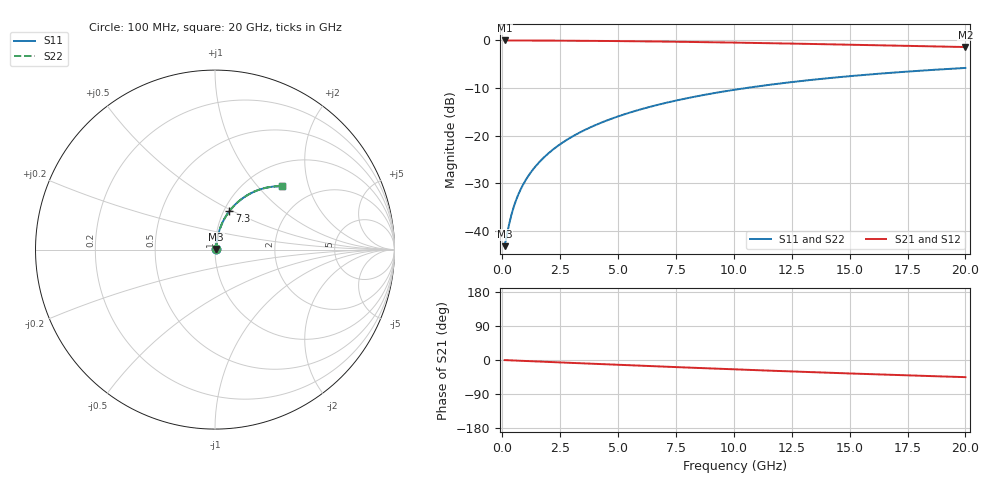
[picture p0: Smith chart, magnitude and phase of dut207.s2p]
! Touchstone file exported from HFSS 2026.1.0
!  File:  C:/ffzhzh/LocalFiles/Ansys_Project_Files/temp_train_BSMRDL_207_1782987827_6248.aedt
!  Generated:  06:25:06 PM Jul  2, 2026
!  Design:  BSMRDL
!  Project:  temp_train_BSMRDL_207_1782987827_6248
! Variables:
!  h_bsmrdl = 2.01um
!  h_ox = 20um
!  h_rdl = 5um
!  h_sub = 80um
!  h_tmrdl = 5um
!  h_tsv = 80um
!  h_via = 3um
!  l_bsmrdl = 568.66um
!  l_sub = 968.66um
!  l_tmrdl = 200um
!  m_sub = 200um
!  pitch = 59.47um
!  r_tsv = 6um
!  s_tmrdl = 10um
!  w_bsmrdl = 17.23um
!  w_sub = 500um
!  w_tmrdl = 12um
!  x_tsv_center1 = 206um
!  x_tsv_center2 = 791.89um
!  x_tsv_center3 = 1003.89um
!  x_tsv_center4 = 1589.78um
!  x_tsv_center5 = 1801.78um
!  x_tsv_center6 = 2387.67um
# GHz S MA R 50.000000
! Terminal data exported
! Port[1] = BSM_RDL1_1_T1
! Port[2] = BSM_RDL1_1_T2
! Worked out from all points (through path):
!   200 points, 100 MHz to 20 GHz, reference 50 ohm
!   highest |S21| = -0.05 dB at 100 MHz (marker M1); lowest = -1.4 dB at 20 GHz (marker M2)
!   group delay of S21, straight-line fit = 6.31 ps
!   lowest |S11| = -43.2 dB at 100 MHz (marker M3), VSWR 1.01, Z = 50.6 + j0.345 ohm
!   |S11| at or under -10 dB: start of sweep to 10.56 GHz
!   |S22| runs from -43.2 to -5.8 dB; largest |S21 - S12| = 3.1e-15
!   S11 on the Smith chart (normalised r, x): 100 MHz: 1.01, +0.01; 7.3 GHz: 1.06, +0.48; 20 GHz: 1.42, +1.36
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0.1  0.00695 29.3  0.994 -0.3  0.994 -0.3  0.00695 29.3
! Gamma 0 0 0 0
! Port Impedance 50 0 50 0
0.3  0.01197 58.0  0.9937 -0.8  0.9937 -0.8  0.01197 58.0
0.4  0.01499 64.0  0.9936 -1.1  0.9936 -1.1  0.01499 64.0
0.5  0.01811 67.8  0.9934 -1.3  0.9934 -1.3  0.01811 67.8
0.6  0.02126 70.4  0.9932 -1.6  0.9932 -1.6  0.02126 70.4
0.8  0.02758 73.6  0.9928 -2.1  0.9928 -2.1  0.02758 73.6
1.1  0.03707 76.1  0.9922 -2.9  0.9922 -2.9  0.03707 76.1
1.5  0.0497 77.6  0.9914 -3.9  0.9914 -3.9  0.0497 77.6
1.8  0.05919 78.1  0.9908 -4.6  0.9908 -4.6  0.05919 78.1
2.1  0.06867 78.3  0.9901 -5.4  0.9901 -5.4  0.06867 78.3
2.7  0.08761 78.0  0.9885 -6.9  0.9885 -6.9  0.08761 78.0
3.5  0.1127 77.1  0.9858 -8.9  0.9858 -8.9  0.1127 77.1
4.2  0.1345 75.9  0.9829 -10.7  0.9829 -10.7  0.1345 75.9
5  0.1591 74.4  0.9792 -12.7  0.9792 -12.7  0.1591 74.4
5.9  0.1863 72.6  0.9742 -14.9  0.9742 -14.9  0.1863 72.6
6.8  0.2129 70.6  0.9686 -17.1  0.9686 -17.1  0.2129 70.7
7.3  0.2273 69.6  0.9652 -18.3  0.9652 -18.3  0.2273 69.6
8.6  0.264 66.7  0.9557 -21.4  0.9557 -21.4  0.264 66.7
10.1  0.3043 63.4  0.9434 -24.8  0.9434 -24.8  0.3043 63.4
13.4  0.385 56.4  0.913 -32.1  0.913 -32.1  0.385 56.4
16.7  0.4541 49.7  0.8804 -38.9  0.8804 -38.9  0.4541 49.8
20  0.5121 43.5  0.848 -45.2  0.848 -45.2  0.5121 43.6
